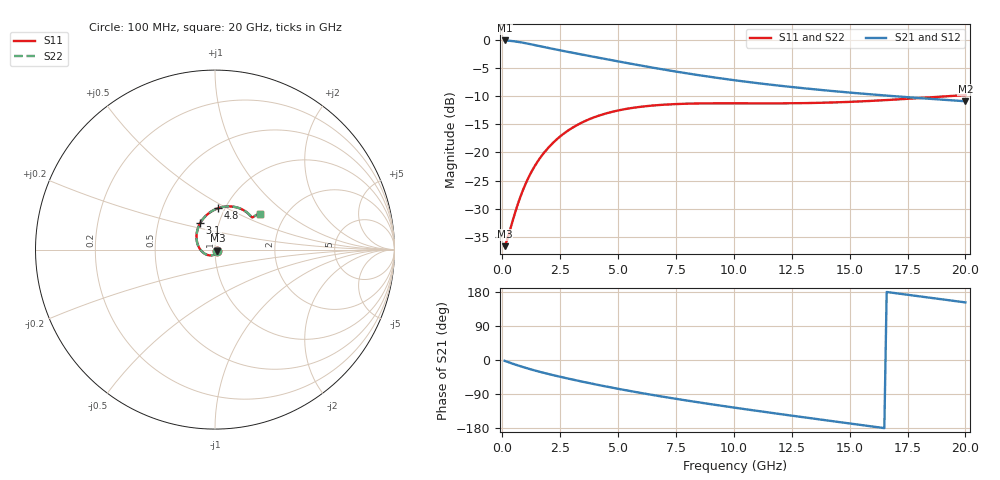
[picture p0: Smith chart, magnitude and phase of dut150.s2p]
! Touchstone file exported from HFSS 2023.1.0
!  File:  D:/Users/fzz/RDL_TSV/temp_RDL_TSV_150_1778752994.aedt
!  Generated:  6:11:25 %x4E0B%x5348  5%x6708 14, 2026
!  Design:  RDL_TSV
!  Project:  temp_RDL_TSV_150_1778752994
!  Setup:  Setup1
!  Solution:  Sweep
! Variables:
!  dtsv = 16.43um
!  hbump = 3um
!  htsv = 95.82um
!  ldown = 525.6um
!  lrdl = 220.27um
!  p = 40
!  p1 = 57.67um
!  rhole = 10um
!  subl = 2457.88um
!  t = 450um
!  tdown = 3.55um
!  trdl = 4.33um
!  viad = 10um
!  wdown = 17.72um
!  wrdl = 14.72um
!  xbump = 18um
# GHz S MA R 50.000000
! Terminal data exported
! Port[1] = TM1_1_T1
! Port[2] = TM1_4_T1
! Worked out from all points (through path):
!   200 points, 100 MHz to 20 GHz, reference 50 ohm
!   highest |S21| = -0.13 dB at 100 MHz (marker M1); lowest = -10.9 dB at 20 GHz (marker M2)
!   group delay of S21, straight-line fit = 26.8 ps
!   lowest |S11| = -36.7 dB at 100 MHz (marker M3), VSWR 1.03, Z = 51.4 - j0.63 ohm
!   |S11| at or under -10 dB: start of sweep to 19.34 GHz
!   |S22| runs from -36.7 to -9.8 dB; largest |S21 - S12| = 2.5e-14
!   S11 on the Smith chart (normalised r, x): 100 MHz: 1.03, -0.01; 3.1 GHz: 0.81, +0.25; 4.8 GHz: 0.93, +0.45; 20 GHz: 1.50, +0.67
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0.1  0.01471 -24.7  0.9852 -2.2  0.9852 -2.2  0.0147 -24.6
! Gamma 0 0 0 0
! Port Impedance 50 0 50 0
0.2  0.01656 -46.8  0.9828 -4.4  0.9828 -4.4  0.01656 -46.8
0.6  0.03131 -107.5  0.9629 -12.8  0.9629 -12.8  0.03133 -107.5
0.8  0.04128 -128.2  0.9483 -16.8  0.9483 -16.8  0.0413 -128.3
1.1  0.05793 -153.5  0.9232 -22.4  0.9232 -22.4  0.05795 -153.6
1.4  0.07551 -173.8  0.8965 -27.6  0.8965 -27.6  0.07553 -173.9
1.8  0.09911 164.6  0.8614 -34.0  0.8614 -34.0  0.09915 164.5
2.2  0.1221 147.5  0.8284 -40.0  0.8284 -40.0  0.1222 147.5
2.6  0.1439 133.6  0.7975 -45.7  0.7975 -45.7  0.144 133.6
3.1  0.1689 119.3  0.7614 -52.5  0.7614 -52.5  0.169 119.3
3.5  0.1867 109.7  0.7343 -57.7  0.7343 -57.7  0.1868 109.7
4.1  0.2095 97.6  0.6957 -65.3  0.6957 -65.3  0.2097 97.6
4.8  0.2305 86.1  0.6537 -73.7  0.6537 -73.7  0.2308 86.0
5.8  0.2513 73.2  0.5992 -85.0  0.5992 -85.0  0.2516 73.2
6.8  0.2635 63.5  0.5513 -95.5  0.5513 -95.5  0.2639 63.5
8.4  0.2717 52.7  0.4875 -111.0  0.4875 -111.0  0.2721 52.7
10.1  0.2727 45.8  0.4349 -126.4  0.4349 -126.4  0.2732 45.8
11.7  0.2724 42.4  0.3965 -140.2  0.3965 -140.2  0.2728 42.4
13.4  0.2745 40.9  0.3641 -154.3  0.3641 -154.3  0.2749 40.8
15  0.2808 40.4  0.3396 -167.5  0.3396 -167.5  0.2812 40.4
16.7  0.2922 40.2  0.3179 178.6  0.3179 178.6  0.2926 40.2
20  0.3227 38.5  0.2844 152.0  0.2844 152.0  0.3232 38.5
